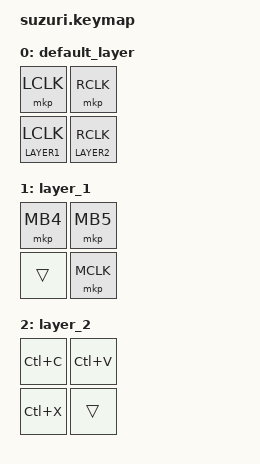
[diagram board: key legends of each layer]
#include <input/processors.dtsi>https://github.com/kemuri0556-create/suzuri-custom/blob/main/config/suzuri.keymap
#include <zephyr/dt-bindings/input/input-event-codes.h>
#include <dt-bindings/zmk/pointing.h>

#include <behaviors.dtsi>
#include <dt-bindings/zmk/keys.h>
#include <dt-bindings/zmk/bt.h>
#include <dt-bindings/zmk/mouse.h>

// レイヤーの定義
#define DEFAULT 0
#define LAYER1  1
#define LAYER2  2
#define LAYER2  3

// カスタムビヘイビアの定義
/ {
        // レイヤシフトとマウスキープレスを共存させる。単押しするとマウスキープレス、長押しでレイヤシフト。
        lt_mkp: lt_mkp {
            compatible = "zmk,behavior-hold-tap";
            label = "LT_MKP";
            bindings = <&mo>, <&mkp>;

            #binding-cells = <2>;
            tapping-term-ms = <160>;
        };

        mod_mkp: mod_mkp {
            compatible = "zmk,behavior-hold-tap";
            label = "MOD_MKP";
            bindings = <&kp>, <&mkp>;

            #binding-cells = <2>;
            tapping-term-ms = <160>;
        };
    };

/ {
    keymap {
        // キーマップの定義
        // 参考 https://zmk.dev/docs/keymaps
        compatible = "zmk,keymap";
        // 人差し指でボールを操作するとなるとどうしても親指でボタンを押すことになるが、ボタン1と2が操作しづらすぎる。どっちかというと下の2ボタンで完結したい。
        default_layer {
            bindings = <
                &mkp LCLK    &mkp RCLK
                &lt_mkp LAYER1 LCLK   &lt_mkp LAYER2 RCLK
            >;
        };

        layer_1 {
            bindings = <
                &mkp MB4     &mkp MB5
                &trans       &mkp MCLK
            >;
        };

        layer_2 {
            bindings = <
                &kp LC(C)    &kp LC(V)
                &kp LC(X)    &trans
            >;
        };
    };
};

// トラックボールの設定(カスタマイズしたい場合は以下をコメントアウトして編集してください)
// #include <input/processors.dtsi>  
#include <dt-bindings/zmk/input_transform.h>  

/ {
    trackball_listener {
        // Input Processor を使用して、トラックボールの入力を処理できます。
        // 参考 https://zmk.dev/docs/keymaps/input-processors
        compatible = "zmk,input-listener";
        device = <&trackball>;
        input-processors = 
            //<&zip_x_scaler 10 9>, // X軸（横方向）の移動量を1.125倍に調整。倍率を大きくすると、Y軸（縦方向）の移動時に横ブレを感じやすくなります。(元々は9 8だった)
            <&zip_x_scaler 7 10>, // カーソル早すぎて死んだので調整。X軸だけちょっと大きめに。
            <&zip_y_scaler 3 5>, // カーソル早すぎて死んだので調整。
            <&zip_xy_transform INPUT_TRANSFORM_X_INVERT>; // X軸反転

        scroller {
            layers = <1>;
            input-processors =
                <&zip_xy_to_scroll_mapper>,
                <&zip_scroll_transform INPUT_TRANSFORM_Y_INVERT>, // Y軸反転
                <&zip_scroll_transform INPUT_TRANSFORM_X_INVERT>, // X軸反転
                <&zip_scroll_scaler 1 40>; // スクロール速度を1/40に調整
            process-next;
        };
    };
};
